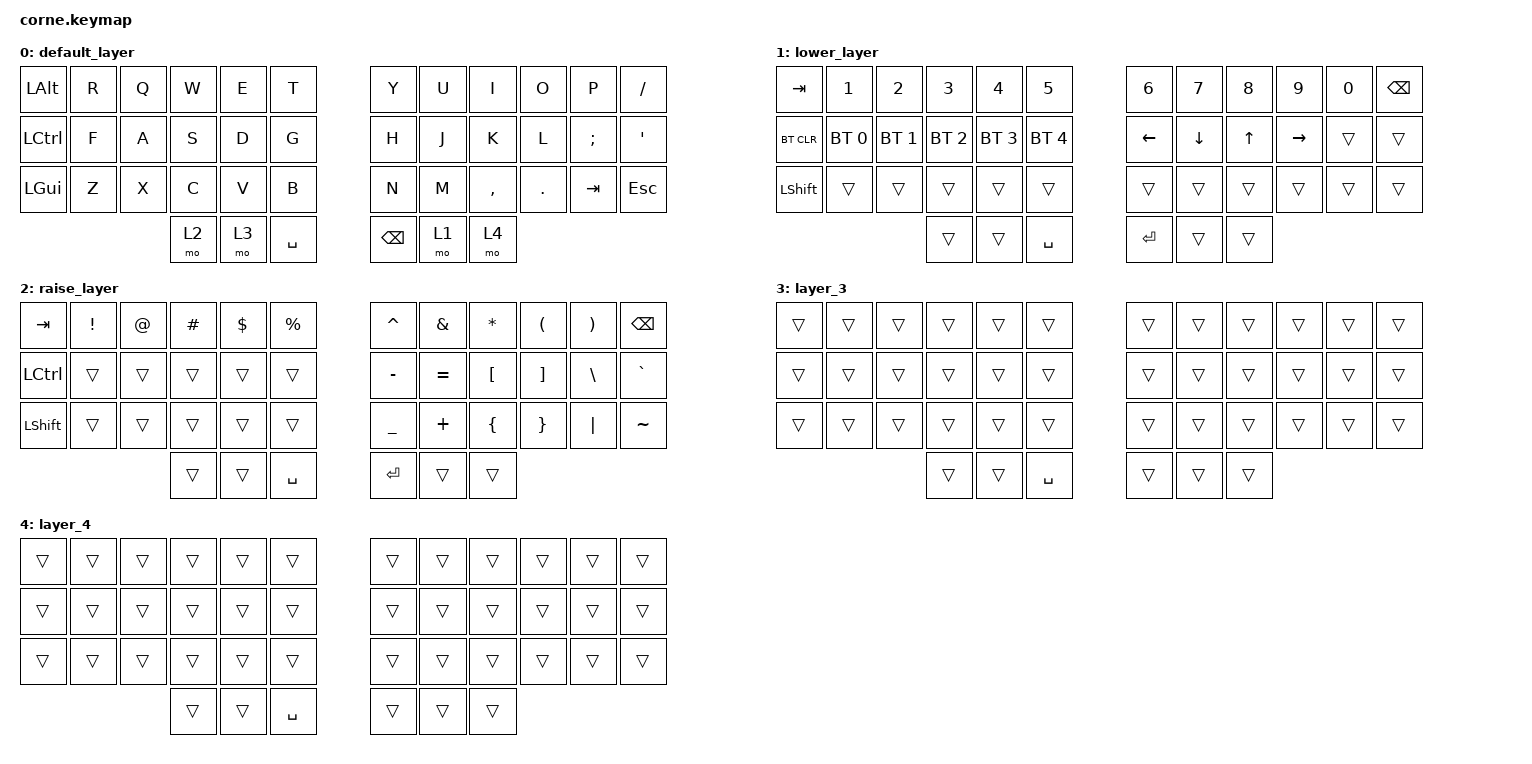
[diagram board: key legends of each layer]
/*
 * Copyright (c) 2020 The ZMK Contributors
 *
 * SPDX-License-Identifier: MIT
 */

#include <behaviors.dtsi>
#include <dt-bindings/zmk/bt.h>
#include <dt-bindings/zmk/keys.h>

/ {
    combos {
        compatible = "zmk,combos";

        combo_esc {
            timeout-ms = <50>;
            key-positions = <0 1>;
            bindings = <&kp ESC>;
        };
    };

    behaviors {
        ss_hs_modmorph: ss_hs_modmorph {
            compatible = "zmk,behavior-mod-morph";
            label = "SS_HS_MODMORPH";
            bindings = <&kp M>, <&kp RIGHT_BRACKET>;

            #binding-cells = <0>;
            mods = <(MOD_LSFT|MOD_RSFT)>;
        };

        kh_hs_tapdance: kh_hs_tapdance {
            compatible = "zmk,behavior-tap-dance";
            label = "KH_HS_TAPDANCE";
            #binding-cells = <0>;
            tapping-term-ms = <200>;
            bindings = <&kp LEFT_BRACKET>, <&kp RIGHT_BRACKET>;
        };

        hrm: hrm {
            compatible = "zmk,behavior-hold-tap";
            #binding-cells = <2>;
            flavor = "tap-preferred";
            tapping-term-ms = <200>;
            quick-tap-ms = <200>;
            require-prior-idle-ms = <125>;
            bindings = <&kp>, <&kp>;
        };
    };

    keymap {
        compatible = "zmk,keymap";

        default_layer {
            // -----------------------------------------------------------------------------------------
            // |  TAB |  Q  |  W  |  E  |  R  |  T  |   |  Y  |  U   |  I  |  O  |  P  | BKSP |
            // | CTRL |  A  |  S  |  D  |  F  |  G  |   |  H  |  J   |  K  |  L  |  ;  |  '   |
            // | SHFT |  Z  |  X  |  C  |  V  |  B  |   |  N  |  M   |  ,  |  .  |  /  | ESC  |
            //                    | GUI | LWR | SPC |   | ENT | RSE  | ALT |

            bindings = <
&kp LALT   &kp R  &kp Q  &kp W  &kp E  &kp T        &kp Y          &kp U  &kp I      &kp O    &kp P     &kp SLASH
&kp LCTRL  &kp F  &kp A  &kp S  &kp D  &kp G        &kp H          &kp J  &kp K      &kp L    &kp SEMI  &kp SQT
&kp LGUI   &kp Z  &kp X  &kp C  &kp V  &kp B        &kp N          &kp M  &kp COMMA  &kp DOT  &kp TAB   &kp ESC
                         &mo 2  &mo 3  &kp SPACE    &kp BACKSPACE  &mo 1  &mo 4
            >;
        };

        lower_layer {
            // -----------------------------------------------------------------------------------------
            // |  TAB |  1  |  2  |  3  |  4  |  5  |   |  6  |  7  |  8  |  9  |  0  | BKSP |
            // | BTCLR| BT1 | BT2 | BT3 | BT4 | BT5 |   | LFT | DWN |  UP | RGT |     |      |
            // | SHFT |     |     |     |     |     |   |     |     |     |     |     |      |
            //                    | GUI |     | SPC |   | ENT |     | ALT |

            bindings = <
&kp TAB     &kp N1        &kp N2        &kp N3        &kp N4        &kp N5          &kp N6    &kp N7    &kp N8  &kp N9     &kp N0  &kp BSPC
&bt BT_CLR  &bt BT_SEL 0  &bt BT_SEL 1  &bt BT_SEL 2  &bt BT_SEL 3  &bt BT_SEL 4    &kp LEFT  &kp DOWN  &kp UP  &kp RIGHT  &trans  &trans
&kp LSHFT   &trans        &trans        &trans        &trans        &trans          &trans    &trans    &trans  &trans     &trans  &trans
                                        &trans        &trans        &kp SPACE       &kp RET   &trans    &trans
            >;
        };

        raise_layer {
            // -----------------------------------------------------------------------------------------
            // |  TAB |  !  |  @  |  #  |  $  |  %  |   |  ^  |  &  |  *  |  (  |  )  | BKSP |
            // | CTRL |     |     |     |     |     |   |  -  |  =  |  [  |  ]  |  \  |  `   |
            // | SHFT |     |     |     |     |     |   |  _  |  +  |  {  |  }  | "|" |  ~   |
            //                    | GUI |     | SPC |   | ENT |     | ALT |

            bindings = <
&kp TAB    &kp EXCL  &kp AT  &kp HASH  &kp DLLR  &kp PRCNT    &kp CARET  &kp AMPS   &kp ASTRK  &kp LPAR  &kp RPAR  &kp BSPC
&kp LCTRL  &trans    &trans  &trans    &trans    &trans       &kp MINUS  &kp EQUAL  &kp LBKT   &kp RBKT  &kp BSLH  &kp GRAVE
&kp LSHFT  &trans    &trans  &trans    &trans    &trans       &kp UNDER  &kp PLUS   &kp LBRC   &kp RBRC  &kp PIPE  &kp TILDE
                             &trans    &trans    &kp SPACE    &kp RET    &trans     &trans
            >;
        };

        layer_3 {
            bindings = <
&trans  &trans  &trans  &trans  &trans  &trans       &trans  &trans  &trans  &trans  &trans  &trans
&trans  &trans  &trans  &trans  &trans  &trans       &trans  &trans  &trans  &trans  &trans  &trans
&trans  &trans  &trans  &trans  &trans  &trans       &trans  &trans  &trans  &trans  &trans  &trans
                        &trans  &trans  &kp SPACE    &trans  &trans  &trans
            >;
        };

        layer_4 {
            bindings = <
&trans  &trans  &trans  &trans  &trans  &trans       &trans  &trans  &trans  &trans  &trans  &trans
&trans  &trans  &trans  &trans  &trans  &trans       &trans  &trans  &trans  &trans  &trans  &trans
&trans  &trans  &trans  &trans  &trans  &trans       &trans  &trans  &trans  &trans  &trans  &trans
                        &trans  &trans  &kp SPACE    &trans  &trans  &trans
            >;
        };
    };
};
